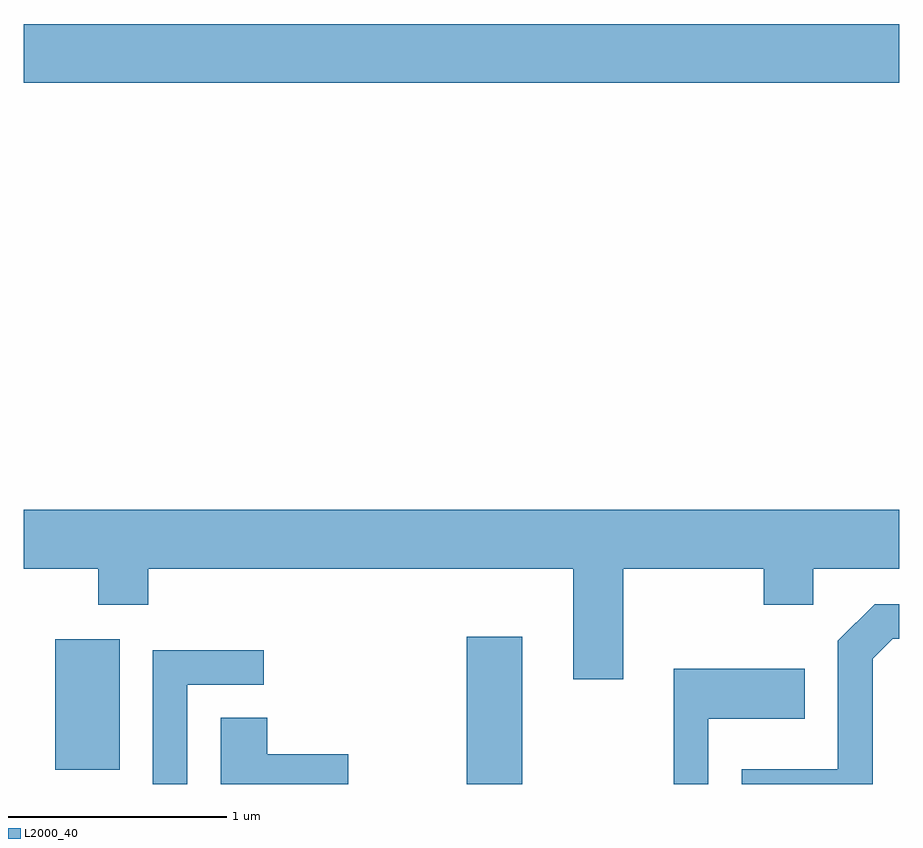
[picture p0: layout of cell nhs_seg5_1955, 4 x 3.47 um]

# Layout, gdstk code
import gdstk
lib = gdstk.Library(unit=1e-6, precision=1e-09)
def R(c, l, rs):  # rectangles x0, y0, x1, y1
    for r in rs: c.add(gdstk.rectangle(r[:2], r[2:], *l))
def P(c, l, *ps):  # polygons
    for p in ps: c.add(gdstk.Polygon(p, *l))
L2000_40 = (2000, 40)

nhs_seg5_1955 = lib.new_cell('nhs_seg5_1955')
R(nhs_seg5_1955, L2000_40, [(245.636,1418.072,245.889,1418.744), (243.756,1418.136,244.049,1418.734), (243.611,1421.276,247.611,1421.544)])
P(nhs_seg5_1955, L2000_40, [(246.349,1419.056),(246.991,1419.056),(246.991,1418.891),(247.219,1418.891),(247.219,1419.056),(247.611,1419.056),(247.611,1419.324),(243.611,1419.324),(243.611,1419.056),(243.951,1419.056),(243.951,1418.891),(244.179,1418.891),(244.179,1419.056),(246.121,1419.056),(246.121,1418.551),(246.349,1418.551)],
  [(247.489,1418.644),(247.582,1418.736),(247.611,1418.736),(247.611,1418.894),(247.499,1418.894),(247.331,1418.727),(247.331,1418.139),(246.891,1418.139),(246.891,1418.072),(247.489,1418.072)],
  [(244.359,1418.526),(244.708,1418.526),(244.708,1418.684),(244.201,1418.684),(244.201,1418.072),(244.359,1418.072)],
  [(246.739,1418.371),(247.179,1418.371),(247.179,1418.599),(246.581,1418.599),(246.581,1418.072),(246.739,1418.072)],
  [(245.094,1418.209),(244.724,1418.209),(244.724,1418.374),(244.511,1418.374),(244.511,1418.072),(245.094,1418.072)])

lib.write_gds('nhs_seg5_1955.gds')
